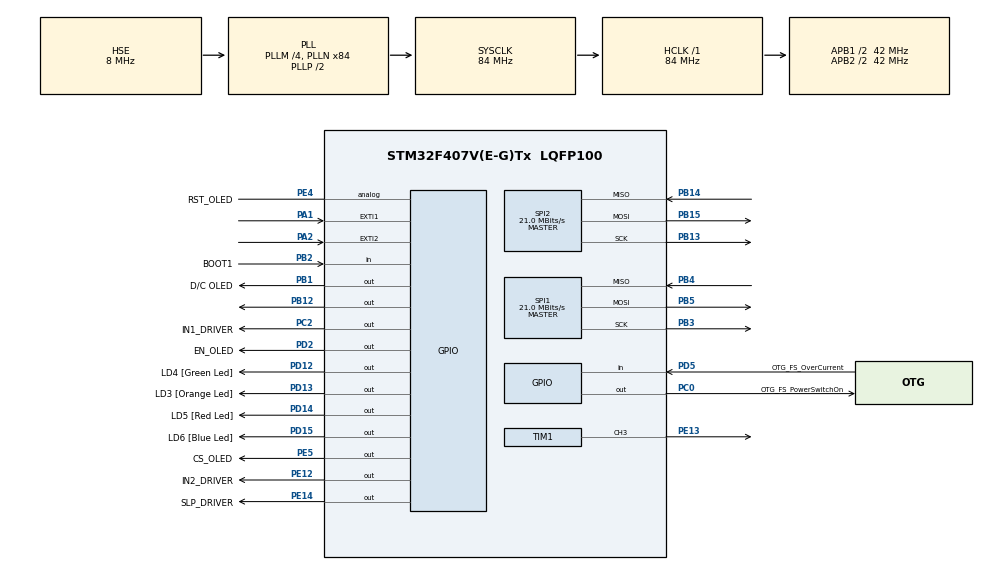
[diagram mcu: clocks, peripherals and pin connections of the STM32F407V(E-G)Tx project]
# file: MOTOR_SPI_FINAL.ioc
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Mcu.Family=STM32F4
Mcu.Name=STM32F407V(E-G)Tx
Mcu.Package=LQFP100
NVIC.EXTI1_IRQn=true\:0\:0\:false\:false\:true\:true\:true\:true
NVIC.EXTI2_IRQn=true\:0\:0\:false\:false\:true\:true\:true\:true
NVIC.PriorityGroup=NVIC_PRIORITYGROUP_0
PA1.GPIO_ModeDefaultEXTI=GPIO_MODE_IT_FALLING
PA1.GPIO_PuPd=GPIO_PULLUP
PA1.Signal=GPXTI1
PA13.GPIO_Label=SWDIO
PA13.Mode=Serial_Wire
PA13.Signal=SYS_JTMS-SWDIO
PA14.GPIO_Label=SWCLK
PA14.Mode=Serial_Wire
PA14.Signal=SYS_JTCK-SWCLK
PA2.Signal=GPXTI2
PB1.GPIO_Label=D/C OLED
PB1.Signal=GPIO_Output
PB12.Signal=GPIO_Output
PB13.Mode=Full_Duplex_Master
PB13.Signal=SPI2_SCK
PB14.Mode=Full_Duplex_Master
PB14.Signal=SPI2_MISO
PB15.Mode=Full_Duplex_Master
PB15.Signal=SPI2_MOSI
PB2.GPIO_Label=BOOT1
PB2.GPIO_Mode=GPIO_MODE_INPUT
PB2.GPIO_PuPd=GPIO_NOPULL
PB2.Signal=GPIO_Input
PB3.Mode=Full_Duplex_Master
PB3.Signal=SPI1_SCK
PB4.Mode=Full_Duplex_Master
PB4.Signal=SPI1_MISO
PB5.Mode=Full_Duplex_Master
PB5.Signal=SPI1_MOSI
PC0.GPIO_Label=OTG_FS_PowerSwitchOn
PC0.GPIO_PuPd=GPIO_NOPULL
PC0.GPIO_Speed=GPIO_SPEED_FREQ_LOW
PC0.PinState=GPIO_PIN_SET
PC0.Signal=GPIO_Output
PC2.GPIO_Label=IN1_DRIVER
PC2.Signal=GPIO_Output
PD12.GPIO_Label=LD4 [Green Led]
PD12.GPIO_PuPd=GPIO_NOPULL
PD12.GPIO_Speed=GPIO_SPEED_FREQ_LOW
PD12.Signal=GPIO_Output
PD13.GPIO_Label=LD3 [Orange Led]
PD13.GPIO_PuPd=GPIO_NOPULL
PD13.GPIO_Speed=GPIO_SPEED_FREQ_LOW
PD13.Signal=GPIO_Output
PD14.GPIO_Label=LD5 [Red Led]
PD14.GPIO_PuPd=GPIO_NOPULL
PD14.GPIO_Speed=GPIO_SPEED_FREQ_LOW
PD14.Signal=GPIO_Output
PD15.GPIO_Label=LD6 [Blue Led]
PD15.GPIO_PuPd=GPIO_NOPULL
PD15.GPIO_Speed=GPIO_SPEED_FREQ_LOW
PD15.Signal=GPIO_Output
PD2.GPIO_Label=EN_OLED
PD2.Signal=GPIO_Output
PD5.GPIO_Label=OTG_FS_OverCurrent
PD5.GPIO_Mode=GPIO_MODE_INPUT
PD5.GPIO_PuPd=GPIO_NOPULL
PD5.Signal=GPIO_Input
PE12.GPIO_Label=IN2_DRIVER
PE12.Signal=GPIO_Output
PE13.Signal=S_TIM1_CH3
PE14.GPIO_Label=SLP_DRIVER
PE14.Signal=GPIO_Output
PE4.GPIO_Label=RST_OLED
PE4.Signal=GPIO_Analog
PE5.GPIO_Label=CS_OLED
PE5.Signal=GPIO_Output
PH0-OSC_IN.GPIO_Label=PH0-OSC_IN
PH0-OSC_IN.Mode=HSE-External-Oscillator
PH0-OSC_IN.Signal=RCC_OSC_IN
PH1-OSC_OUT.GPIO_Label=PH1-OSC_OUT
PH1-OSC_OUT.Mode=HSE-External-Oscillator
PH1-OSC_OUT.Signal=RCC_OSC_OUT
ProjectManager.HeapSize=0x200
ProjectManager.StackSize=0x400
ProjectManager.TargetToolchain=STM32CubeIDE
RCC.48MHZClocksFreq_Value=24000000
RCC.AHBFreq_Value=84000000
RCC.APB1CLKDivider=RCC_HCLK_DIV2
RCC.APB1Freq_Value=42000000
RCC.APB1TimFreq_Value=84000000
RCC.APB2CLKDivider=RCC_HCLK_DIV2
RCC.APB2Freq_Value=42000000
RCC.APB2TimFreq_Value=84000000
RCC.CortexFreq_Value=84000000
RCC.HCLKFreq_Value=84000000
RCC.HSE_VALUE=8000000
RCC.HSI_VALUE=16000000
RCC.LSE_VALUE=32768
RCC.PLLM=4
RCC.PLLN=84
RCC.PLLQ=7
RCC.PLLSourceVirtual=RCC_PLLSOURCE_HSE
RCC.SYSCLKFreq_VALUE=84000000
RCC.SYSCLKSource=RCC_SYSCLKSOURCE_PLLCLK
RCC.VCOOutputFreq_Value=168000000
SH.S_TIM1_CH3.0=TIM1_CH3,PWM Generation3 CH3
SPI1.CLKPhase=SPI_PHASE_2EDGE
SPI1.CLKPolarity=SPI_POLARITY_HIGH
SPI1.CalculateBaudRate=21.0 MBits/s
SPI1.Direction=SPI_DIRECTION_2LINES
SPI1.Mode=SPI_MODE_MASTER
SPI1.VirtualType=VM_MASTER
SPI2.CLKPhase=SPI_PHASE_1EDGE
SPI2.CalculateBaudRate=21.0 MBits/s
SPI2.Direction=SPI_DIRECTION_2LINES
SPI2.Mode=SPI_MODE_MASTER
SPI2.VirtualType=VM_MASTER
TIM1.Channel-PWM\ Generation3\ CH3=TIM_CHANNEL_3
TIM1.Period=49
TIM1.Prescaler=83
VP_TIM1_VS_ClockSourceINT.Mode=Internal
board=STM32F407G-DISC1

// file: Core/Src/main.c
/* USER CODE BEGIN Header */
/**
  ******************************************************************************
  * @file           : main.c
  * @brief          : Main program body
  ******************************************************************************
  * @attention
  *
  * Copyright (c) 2025 STMicroelectronics.
  * All rights reserved.
  *
  * This software is licensed under terms that can be found in the LICENSE file
  * in the root directory of this software component.
  * If no LICENSE file comes with this software, it is provided AS-IS.
  *
  ******************************************************************************
  */
/* USER CODE END Header */
#include "main.h"

/* USER CODE BEGIN Includes */
#include <stdio.h>
#include <string.h>
#include "ssd1351.h"
/* USER CODE END Includes */

/* USER CODE BEGIN PTD */
SPI_HandleTypeDef hspi1;
SPI_HandleTypeDef hspi2;
TIM_HandleTypeDef htim1;

void SystemClock_Config(void);
static void MX_GPIO_Init(void);
static void MX_SPI1_Init(void);
static void MX_SPI2_Init(void);
#define BLACK   0x0000
#define WHITE   0xFFFF
#define RED     0xF800
#define GREEN   0x07E0
#define BLUE    0x001F
#define YELLOW  0xFFE0

uint32_t last_press_time = 0;  // Antirrebote
volatile uint8_t step_count = 0;
const uint8_t duty_steps[6] = {0, 20, 40, 60, 80, 90};

void Set_PWM_Duty(uint8_t percent) {
    if (percent > 100) return;
    uint32_t pulse = (percent * (__HAL_TIM_GET_AUTORELOAD(&htim1) + 1)) / 100;
    __HAL_TIM_SET_COMPARE(&htim1, TIM_CHANNEL_3, pulse);
}

void HAL_GPIO_EXTI_Callback(uint16_t GPIO_Pin) {
    if (HAL_GetTick() - last_press_time < 50) return;  // Antirrebote

    if (GPIO_Pin == GPIO_PIN_1 && step_count < 5) {
        step_count++;
    } else if (GPIO_Pin == GPIO_PIN_2 && step_count > 0) {
        step_count--;
    }

    Set_PWM_Duty(duty_steps[step_count]);
    last_press_time = HAL_GetTick();
}

// Función para leer 2 bytes del sensor
uint16_t Read_Current_Raw(void) {
    uint8_t tx_dummy[2] = {0x00, 0x00};
    uint8_t rx_data[2] = {0};

    HAL_GPIO_WritePin(GPIOB, GPIO_PIN_12, GPIO_PIN_RESET); // CS LOW
    HAL_SPI_TransmitReceive(&hspi2, tx_dummy, rx_data, 2, HAL_MAX_DELAY);
    HAL_GPIO_WritePin(GPIOB, GPIO_PIN_12, GPIO_PIN_SET);   // CS HIGH

    uint16_t raw = ((uint16_t)rx_data[0] << 8) | rx_data[1];

        int16_t current_raw = raw & 0x1FFF; // bits 12:0
        if (current_raw & 0x1000) {
            current_raw |= 0xE000; // Extiende signo si bit 12 está en 1
        }

        return current_raw;
}

int16_t Read_Current_Signed(void) {
    uint8_t tx_dummy[2] = {0x00, 0x00};
    uint8_t rx_data[2] = {0};

    // CS del sensor de corriente en PB12
    HAL_GPIO_WritePin(GPIOB, GPIO_PIN_12, GPIO_PIN_RESET); // CS LOW
    HAL_SPI_TransmitReceive(&hspi2, tx_dummy, rx_data, 2, HAL_MAX_DELAY);
    HAL_GPIO_WritePin(GPIOB, GPIO_PIN_12, GPIO_PIN_SET);   // CS HIGH

    uint16_t raw = ((uint16_t)rx_data[0] << 8) | rx_data[1];

    int16_t current_raw = raw & 0x1FFF; // bits 12:0
    if (current_raw & 0x1000) {
        current_raw |= 0xE000; // Extiende signo si bit 12 está en 1
    }

    return current_raw;
}

/* USER CODE END PTD */

SPI_HandleTypeDef hspi1;
SPI_HandleTypeDef hspi2;
TIM_HandleTypeDef htim1;

void SystemClock_Config(void);
static void MX_GPIO_Init(void);
static void MX_SPI1_Init(void);
static void MX_TIM1_Init(void);
static void MX_SPI2_Init(void);

int main(void)
{

  /* MCU Configuration--------------------------------------------------------*/

  /* Reset of all peripherals, Initializes the Flash interface and the Systick. */
  HAL_Init();

  /* Configure the system clock */
  SystemClock_Config();

  /* Initialize all configured peripherals */
  MX_GPIO_Init();
  MX_SPI1_Init();
  MX_TIM1_Init();
  MX_SPI2_Init();
  /* USER CODE BEGIN 2 */
  HAL_TIM_PWM_Start(&htim1, TIM_CHANNEL_3);
  Set_PWM_Duty(80);  // Arranca en 0%
  HAL_GPIO_WritePin(EN_OLED_GPIO_Port, EN_OLED_Pin, GPIO_PIN_SET);
  // Configura IN1 = HIGH, IN2 = LOW → Dirección directa
  HAL_GPIO_WritePin(IN1_DRIVER_GPIO_Port, IN1_DRIVER_Pin, GPIO_PIN_SET);
  HAL_GPIO_WritePin(IN2_DRIVER_GPIO_Port, IN2_DRIVER_Pin, GPIO_PIN_RESET);

  // Activa SLP (Sleep OFF)
  HAL_GPIO_WritePin(SLP_DRIVER_GPIO_Port, SLP_DRIVER_Pin, GPIO_PIN_SET);
  HAL_Delay(10);  // Pequeña espera por estabilidad
  SSD1351_Init();
  SSD1351_Clear();

  char buffer_current[32];
  char buffer_duty[32];
  /* USER CODE END 2 */

  /* Infinite loop */
  /* USER CODE BEGIN WHILE */
  while (1)
  {
      uint32_t suma_raw = 0;
      for (int i = 0; i < 10; i++) {
          suma_raw += Read_Current_Raw();
          HAL_Delay(10);
      }

      uint16_t raw_prom = suma_raw / 10;
      float current_mA = (raw_prom - 2048) * 25.0f;

      char buffer_current[32];
      char buffer_duty[32];

      snprintf(buffer_current, sizeof(buffer_current), "I: %.1fmA", current_mA);
      snprintf(buffer_duty, sizeof(buffer_duty), "D: %u%%", duty_steps[step_count]);

      SSD1351_Clear();
      SSD1351_DrawText(10, 10, buffer_current, BLUE, BLACK, 2);  // Línea 1
      SSD1351_DrawText(10, 30, buffer_duty, BLUE, BLACK, 2);     // Línea 2 (ajusta Y si cambias escala)

      if (current_mA > 100.0f && step_count < 5) {
          step_count++;
          Set_PWM_Duty(duty_steps[step_count]);
      }

      HAL_Delay(1000);
  }
  /* USER CODE END 3 */
}

void SystemClock_Config(void)
{
  RCC_OscInitTypeDef RCC_OscInitStruct = {0};
  RCC_ClkInitTypeDef RCC_ClkInitStruct = {0};

  /** Configure the main internal regulator output voltage
  */
  __HAL_RCC_PWR_CLK_ENABLE();
  __HAL_PWR_VOLTAGESCALING_CONFIG(PWR_REGULATOR_VOLTAGE_SCALE1);

  /** Initializes the RCC Oscillators according to the specified parameters
  * in the RCC_OscInitTypeDef structure.
  */
  RCC_OscInitStruct.OscillatorType = RCC_OSCILLATORTYPE_HSE;
  RCC_OscInitStruct.HSEState = RCC_HSE_ON;
  RCC_OscInitStruct.PLL.PLLState = RCC_PLL_ON;
  RCC_OscInitStruct.PLL.PLLSource = RCC_PLLSOURCE_HSE;
  RCC_OscInitStruct.PLL.PLLM = 4;
  RCC_OscInitStruct.PLL.PLLN = 84;
  RCC_OscInitStruct.PLL.PLLP = RCC_PLLP_DIV2;
  RCC_OscInitStruct.PLL.PLLQ = 7;
  if (HAL_RCC_OscConfig(&RCC_OscInitStruct) != HAL_OK)
  {
    Error_Handler();
  }

  /** Initializes the CPU, AHB and APB buses clocks
  */
  RCC_ClkInitStruct.ClockType = RCC_CLOCKTYPE_HCLK|RCC_CLOCKTYPE_SYSCLK
                              |RCC_CLOCKTYPE_PCLK1|RCC_CLOCKTYPE_PCLK2;
  RCC_ClkInitStruct.SYSCLKSource = RCC_SYSCLKSOURCE_PLLCLK;
  RCC_ClkInitStruct.AHBCLKDivider = RCC_SYSCLK_DIV1;
  RCC_ClkInitStruct.APB1CLKDivider = RCC_HCLK_DIV2;
  RCC_ClkInitStruct.APB2CLKDivider = RCC_HCLK_DIV2;

  if (HAL_RCC_ClockConfig(&RCC_ClkInitStruct, FLASH_LATENCY_2) != HAL_OK)
  {
    Error_Handler();
  }
}

static void MX_SPI1_Init(void)
{

  /* SPI1 parameter configuration*/
  hspi1.Instance = SPI1;
  hspi1.Init.Mode = SPI_MODE_MASTER;
  hspi1.Init.Direction = SPI_DIRECTION_2LINES;
  hspi1.Init.DataSize = SPI_DATASIZE_8BIT;
  hspi1.Init.CLKPolarity = SPI_POLARITY_HIGH;
  hspi1.Init.CLKPhase = SPI_PHASE_2EDGE;
  hspi1.Init.NSS = SPI_NSS_SOFT;
  hspi1.Init.BaudRatePrescaler = SPI_BAUDRATEPRESCALER_2;
  hspi1.Init.FirstBit = SPI_FIRSTBIT_MSB;
  hspi1.Init.TIMode = SPI_TIMODE_DISABLE;
  hspi1.Init.CRCCalculation = SPI_CRCCALCULATION_DISABLE;
  hspi1.Init.CRCPolynomial = 10;
  if (HAL_SPI_Init(&hspi1) != HAL_OK)
  {
    Error_Handler();
  }

}

static void MX_SPI2_Init(void)
{

  /* SPI2 parameter configuration*/
  hspi2.Instance = SPI2;
  hspi2.Init.Mode = SPI_MODE_MASTER;
  hspi2.Init.Direction = SPI_DIRECTION_2LINES;
  hspi2.Init.DataSize = SPI_DATASIZE_8BIT;
  hspi2.Init.CLKPolarity = SPI_POLARITY_LOW;
  hspi2.Init.CLKPhase = SPI_PHASE_1EDGE;
  hspi2.Init.NSS = SPI_NSS_SOFT;
  hspi2.Init.BaudRatePrescaler = SPI_BAUDRATEPRESCALER_2;
  hspi2.Init.FirstBit = SPI_FIRSTBIT_MSB;
  hspi2.Init.TIMode = SPI_TIMODE_DISABLE;
  hspi2.Init.CRCCalculation = SPI_CRCCALCULATION_DISABLE;
  hspi2.Init.CRCPolynomial = 10;
  if (HAL_SPI_Init(&hspi2) != HAL_OK)
  {
    Error_Handler();
  }

}

static void MX_TIM1_Init(void)
{

  TIM_ClockConfigTypeDef sClockSourceConfig = {0};
  TIM_MasterConfigTypeDef sMasterConfig = {0};
  TIM_OC_InitTypeDef sConfigOC = {0};
  TIM_BreakDeadTimeConfigTypeDef sBreakDeadTimeConfig = {0};

  htim1.Instance = TIM1;
  htim1.Init.Prescaler = 83;
  htim1.Init.CounterMode = TIM_COUNTERMODE_UP;
  htim1.Init.Period = 49;
  htim1.Init.ClockDivision = TIM_CLOCKDIVISION_DIV1;
  htim1.Init.RepetitionCounter = 0;
  htim1.Init.AutoReloadPreload = TIM_AUTORELOAD_PRELOAD_DISABLE;
  if (HAL_TIM_Base_Init(&htim1) != HAL_OK)
  {
    Error_Handler();
  }
  sClockSourceConfig.ClockSource = TIM_CLOCKSOURCE_INTERNAL;
  if (HAL_TIM_ConfigClockSource(&htim1, &sClockSourceConfig) != HAL_OK)
  {
    Error_Handler();
  }
  if (HAL_TIM_PWM_Init(&htim1) != HAL_OK)
  {
    Error_Handler();
  }
  sMasterConfig.MasterOutputTrigger = TIM_TRGO_RESET;
  sMasterConfig.MasterSlaveMode = TIM_MASTERSLAVEMODE_DISABLE;
  if (HAL_TIMEx_MasterConfigSynchronization(&htim1, &sMasterConfig) != HAL_OK)
  {
    Error_Handler();
  }
  sConfigOC.OCMode = TIM_OCMODE_PWM1;
  sConfigOC.Pulse = 0;
  sConfigOC.OCPolarity = TIM_OCPOLARITY_HIGH;
  sConfigOC.OCNPolarity = TIM_OCNPOLARITY_HIGH;
  sConfigOC.OCFastMode = TIM_OCFAST_DISABLE;
  sConfigOC.OCIdleState = TIM_OCIDLESTATE_RESET;
  sConfigOC.OCNIdleState = TIM_OCNIDLESTATE_RESET;
  if (HAL_TIM_PWM_ConfigChannel(&htim1, &sConfigOC, TIM_CHANNEL_3) != HAL_OK)
  {
    Error_Handler();
  }
  sBreakDeadTimeConfig.OffStateRunMode = TIM_OSSR_DISABLE;
  sBreakDeadTimeConfig.OffStateIDLEMode = TIM_OSSI_DISABLE;
  sBreakDeadTimeConfig.LockLevel = TIM_LOCKLEVEL_OFF;
  sBreakDeadTimeConfig.DeadTime = 0;
  sBreakDeadTimeConfig.BreakState = TIM_BREAK_DISABLE;
  sBreakDeadTimeConfig.BreakPolarity = TIM_BREAKPOLARITY_HIGH;
  sBreakDeadTimeConfig.AutomaticOutput = TIM_AUTOMATICOUTPUT_DISABLE;
  if (HAL_TIMEx_ConfigBreakDeadTime(&htim1, &sBreakDeadTimeConfig) != HAL_OK)
  {
    Error_Handler();
  }
  HAL_TIM_MspPostInit(&htim1);

}

static void MX_GPIO_Init(void)
{
  GPIO_InitTypeDef GPIO_InitStruct = {0};

  /* GPIO Ports Clock Enable */
  __HAL_RCC_GPIOE_CLK_ENABLE();
  __HAL_RCC_GPIOH_CLK_ENABLE();
  __HAL_RCC_GPIOC_CLK_ENABLE();
  __HAL_RCC_GPIOA_CLK_ENABLE();
  __HAL_RCC_GPIOB_CLK_ENABLE();
  __HAL_RCC_GPIOD_CLK_ENABLE();

  /*Configure GPIO pin Output Level */
  HAL_GPIO_WritePin(GPIOE, CS_OLED_Pin|IN2_DRIVER_Pin|SLP_DRIVER_Pin, GPIO_PIN_RESET);

  /*Configure GPIO pin Output Level */
  HAL_GPIO_WritePin(OTG_FS_PowerSwitchOn_GPIO_Port, OTG_FS_PowerSwitchOn_Pin, GPIO_PIN_SET);

  /*Configure GPIO pin Output Level */
  HAL_GPIO_WritePin(IN1_DRIVER_GPIO_Port, IN1_DRIVER_Pin, GPIO_PIN_RESET);

  /*Configure GPIO pin Output Level */
  HAL_GPIO_WritePin(GPIOB, D_C_OLED_Pin|GPIO_PIN_12, GPIO_PIN_RESET);

  /*Configure GPIO pin Output Level */
  HAL_GPIO_WritePin(GPIOD, LD4_Pin|LD3_Pin|LD5_Pin|LD6_Pin
                          |EN_OLED_Pin, GPIO_PIN_RESET);

  /*Configure GPIO pin : RST_OLED_Pin */
  GPIO_InitStruct.Pin = RST_OLED_Pin;
  GPIO_InitStruct.Mode = GPIO_MODE_ANALOG;
  GPIO_InitStruct.Pull = GPIO_NOPULL;
  HAL_GPIO_Init(RST_OLED_GPIO_Port, &GPIO_InitStruct);

  /*Configure GPIO pins : CS_OLED_Pin IN2_DRIVER_Pin SLP_DRIVER_Pin */
  GPIO_InitStruct.Pin = CS_OLED_Pin|IN2_DRIVER_Pin|SLP_DRIVER_Pin;
  GPIO_InitStruct.Mode = GPIO_MODE_OUTPUT_PP;
  GPIO_InitStruct.Pull = GPIO_NOPULL;
  GPIO_InitStruct.Speed = GPIO_SPEED_FREQ_LOW;
  HAL_GPIO_Init(GPIOE, &GPIO_InitStruct);

  /*Configure GPIO pins : OTG_FS_PowerSwitchOn_Pin IN1_DRIVER_Pin */
  GPIO_InitStruct.Pin = OTG_FS_PowerSwitchOn_Pin|IN1_DRIVER_Pin;
  GPIO_InitStruct.Mode = GPIO_MODE_OUTPUT_PP;
  GPIO_InitStruct.Pull = GPIO_NOPULL;
  GPIO_InitStruct.Speed = GPIO_SPEED_FREQ_LOW;
  HAL_GPIO_Init(GPIOC, &GPIO_InitStruct);

  /*Configure GPIO pin : PA1 */
  GPIO_InitStruct.Pin = GPIO_PIN_1;
  GPIO_InitStruct.Mode = GPIO_MODE_IT_FALLING;
  GPIO_InitStruct.Pull = GPIO_PULLUP;
  HAL_GPIO_Init(GPIOA, &GPIO_InitStruct);

  /*Configure GPIO pin : PA2 */
  GPIO_InitStruct.Pin = GPIO_PIN_2;
  GPIO_InitStruct.Mode = GPIO_MODE_IT_RISING;
  GPIO_InitStruct.Pull = GPIO_NOPULL;
  HAL_GPIO_Init(GPIOA, &GPIO_InitStruct);

  /*Configure GPIO pins : D_C_OLED_Pin PB12 */
  GPIO_InitStruct.Pin = D_C_OLED_Pin|GPIO_PIN_12;
  GPIO_InitStruct.Mode = GPIO_MODE_OUTPUT_PP;
  GPIO_InitStruct.Pull = GPIO_NOPULL;
  GPIO_InitStruct.Speed = GPIO_SPEED_FREQ_LOW;
  HAL_GPIO_Init(GPIOB, &GPIO_InitStruct);

  /*Configure GPIO pin : BOOT1_Pin */
  GPIO_InitStruct.Pin = BOOT1_Pin;
  GPIO_InitStruct.Mode = GPIO_MODE_INPUT;
  GPIO_InitStruct.Pull = GPIO_NOPULL;
  HAL_GPIO_Init(BOOT1_GPIO_Port, &GPIO_InitStruct);

  /*Configure GPIO pins : LD4_Pin LD3_Pin LD5_Pin LD6_Pin
                           EN_OLED_Pin */
  GPIO_InitStruct.Pin = LD4_Pin|LD3_Pin|LD5_Pin|LD6_Pin
                          |EN_OLED_Pin;
  GPIO_InitStruct.Mode = GPIO_MODE_OUTPUT_PP;
  GPIO_InitStruct.Pull = GPIO_NOPULL;
  GPIO_InitStruct.Speed = GPIO_SPEED_FREQ_LOW;
  HAL_GPIO_Init(GPIOD, &GPIO_InitStruct);

  /*Configure GPIO pin : OTG_FS_OverCurrent_Pin */
  GPIO_InitStruct.Pin = OTG_FS_OverCurrent_Pin;
  GPIO_InitStruct.Mode = GPIO_MODE_INPUT;
  GPIO_InitStruct.Pull = GPIO_NOPULL;
  HAL_GPIO_Init(OTG_FS_OverCurrent_GPIO_Port, &GPIO_InitStruct);

  /* EXTI interrupt init*/
  HAL_NVIC_SetPriority(EXTI1_IRQn, 0, 0);
  HAL_NVIC_EnableIRQ(EXTI1_IRQn);

  HAL_NVIC_SetPriority(EXTI2_IRQn, 0, 0);
  HAL_NVIC_EnableIRQ(EXTI2_IRQn);

}

void Error_Handler(void)
{
  __disable_irq();
  while (1)
  {
  }
}
